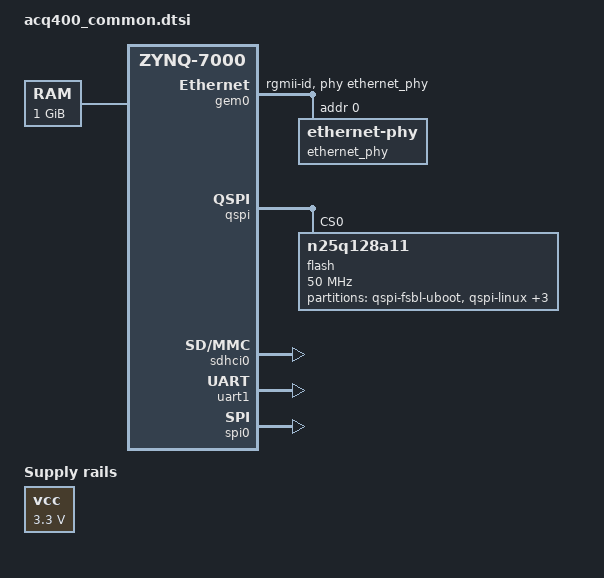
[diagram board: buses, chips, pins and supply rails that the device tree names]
// SPDX-License-Identifier: GPL-2.0+
/*
 *   Copyright (C) 2013-2019 D-TACQ Solutions Ltd - http://www.d-tacq.com/
 *
 * This program is free software; you can redistribute it and/or modify
 * it under the terms of the GNU General Public License version 2 as
 * published by the Free Software Foundation.
 */

#include "zynq-7000.dtsi"
#include "acq400_axi_dma.dtsi"

 / {
	 memory@0 {
		 device_type = "memory";
		 reg = <0x0 0x40000000>;
	 };	
	 usb_phy0: phy0@e0002000 {
		 compatible = "ulpi-phy";
		 #phy-cells = <0>;
		 reg = <0xe0002000 0x1000>;
		 view-port = <0x0170>;
		 drv-vbus;
	 };
	 
	 aliases {
		    ethernet0 = &gem0;
		    ethernet1 = &gem1;
		    serial0 = &uart1;		
		    mmc0 = &sdhci0;
		    spi0 = &qspi;
		    spi1 = &spi0;
		    spi2 = &spi1;
	  };
	 
	 vcc: fixedregulator-v3_3 {
		 compatible = "regulator-fixed";
		 regulator-name = "vcc";
		 regulator-min-microvolt = <3300000>;
		 regulator-max-microvolt = <3300000>;
		 regulator-always-on;
		 enable-active-high;
	 };
 };
 
 
 
 &clkc {
	 ps-clk-frequency = <33333333>;
 };
 
 &gem0 {
	 status = "okay";
	 phy-mode = "rgmii-id";
	 phy-handle = <&ethernet_phy>;
 
	 ethernet_phy: ethernet-phy@0 {
		 reg = <0>;
		 device_type = "ethernet-phy";
	 };
 };
 
 &qspi {
	 u-boot,dm-pre-reloc;
	 status = "okay";
	 is-dual = <0>;
	 num-cs = <1>;
	 flash@0 {
		 compatible = "n25q128a11";
		 reg = <0x0>;
		 spi-tx-bus-width = <1>;
		 spi-rx-bus-width = <4>;
		 spi-max-frequency = <50000000>;
		 #address-cells = <1>;
		 #size-cells = <1>;
		 partition@qspi-fsbl-uboot {
			 label = "qspi-fsbl-uboot";
			 reg = <0x0 0x100000>;
		 };
		 partition@qspi-linux {
			 label = "qspi-linux";
			 reg = <0x100000 0x500000>;
		 };
		 partition@qspi-device-tree {
			 label = "qspi-device-tree";
			 reg = <0x600000 0x20000>;
		 };
		 partition@qspi-rootfs {
			 label = "qspi-rootfs";
			 reg = <0x620000 0x5E0000>;
		 };
		 partition@qspi-bitstream {
			 label = "qspi-bitstream";
			 reg = <0xC00000 0x400000>;
		 };
	 };
 };
 
 &sdhci0 {
	 u-boot,dm-pre-reloc;
	 status = "okay";
 };
 
 &uart1 {
	 u-boot,dm-pre-reloc;
	 status = "okay";
 };
 
 &usb0 {
	 status = "disabled";
	 dr_mode = "nogo";
	 usb-phy = <&usb_phy0>;
 };
 
 
 
 &spi0 {
	status = "okay";
	num-cs = <6>;
	is-decoded-cs = <1>;
 };
 
 &watchdog0 {
	 reset-on-timeout = <1>;
	 timeout-sec = <20>;
 };
 
 &amba {
	 dsp1: dsp1@80000000 {
		 status = "disabled";
		 reg = <0x80000000 0x00040000>;
		 compatible = "D-TACQ,acq400dsp";
		 site = <14>;
		 name = "dsp1";
		 /* potential sc interrupt .. Doxygen 62-32 = 30 */
		 interrupts = <0x0 30 0x4>;
		 interrupt-parent = <0x1>;				
	 };
	 dsp2: dsp2@80040000 {
		 status = "disabled";
		 reg = <0x80040000 0x00040000>;
		 compatible = "D-TACQ,acq400dsp";
		 site = <15>;
		 name = "dsp2";
		 /* potential sc interrupt .. Doxygen 61-32 = 29 */
		 interrupts = <0x0 29 0x4>;
		 interrupt-parent = <0x1>;				
	 };
 };

 
